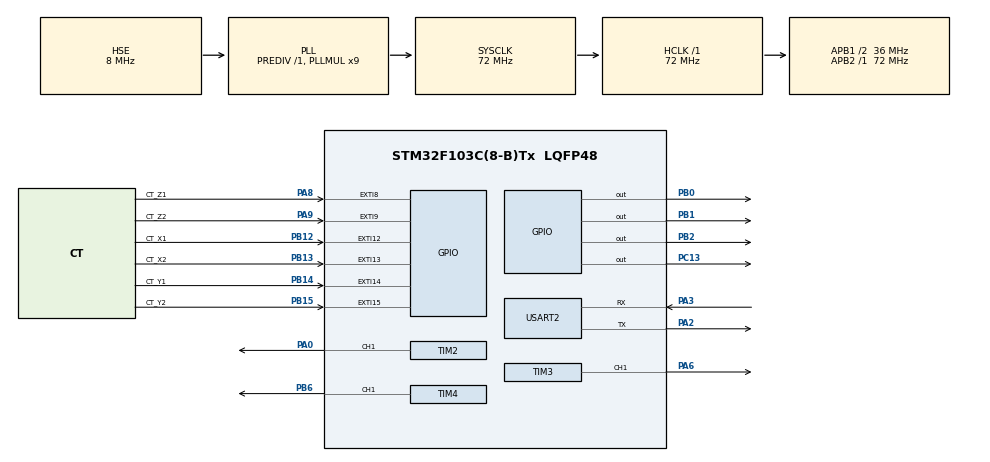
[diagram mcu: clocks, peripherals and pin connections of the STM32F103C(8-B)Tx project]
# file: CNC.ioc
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Mcu.Family=STM32F1
Mcu.Name=STM32F103C(8-B)Tx
Mcu.Package=LQFP48
NVIC.EXTI15_10_IRQn=true\:0\:0\:false\:false\:true\:true\:true\:true
NVIC.EXTI9_5_IRQn=true\:0\:0\:false\:false\:true\:true\:true\:true
NVIC.PriorityGroup=NVIC_PRIORITYGROUP_4
NVIC.TIM1_UP_IRQn=true\:1\:0\:true\:false\:true\:true\:true\:true
NVIC.TIM2_IRQn=true\:0\:0\:false\:false\:true\:true\:true\:true
NVIC.TIM3_IRQn=true\:0\:0\:false\:false\:true\:true\:true\:true
NVIC.TIM4_IRQn=true\:0\:0\:false\:false\:true\:true\:true\:true
NVIC.USART2_IRQn=true\:0\:0\:false\:false\:true\:true\:true\:true
PA0-WKUP.Signal=S_TIM2_CH1_ETR
PA13.Mode=Serial_Wire
PA13.Signal=SYS_JTMS-SWDIO
PA14.Mode=Serial_Wire
PA14.Signal=SYS_JTCK-SWCLK
PA2.Mode=Asynchronous
PA2.Signal=USART2_TX
PA3.Mode=Asynchronous
PA3.Signal=USART2_RX
PA6.Signal=S_TIM3_CH1
PA8.GPIO_Label=CT_Z1
PA8.GPIO_ModeDefaultEXTI=GPIO_MODE_IT_RISING
PA8.GPIO_PuPd=GPIO_PULLUP
PA8.Signal=GPXTI8
PA9.GPIO_Label=CT_Z2
PA9.GPIO_PuPd=GPIO_PULLUP
PA9.Signal=GPXTI9
PB0.Signal=GPIO_Output
PB1.Signal=GPIO_Output
PB12.GPIO_Label=CT_X1
PB12.GPIO_PuPd=GPIO_PULLUP
PB12.Signal=GPXTI12
PB13.GPIO_Label=CT_X2
PB13.GPIO_PuPd=GPIO_PULLUP
PB13.Signal=GPXTI13
PB14.GPIO_Label=CT_Y1
PB14.GPIO_PuPd=GPIO_PULLUP
PB14.Signal=GPXTI14
PB15.GPIO_Label=CT_Y2
PB15.GPIO_PuPd=GPIO_PULLUP
PB15.Signal=GPXTI15
PB2.Signal=GPIO_Output
PB6.Signal=S_TIM4_CH1
PC13-TAMPER-RTC.Signal=GPIO_Output
PD0-OSC_IN.Mode=HSE-External-Oscillator
PD0-OSC_IN.Signal=RCC_OSC_IN
PD1-OSC_OUT.Mode=HSE-External-Oscillator
PD1-OSC_OUT.Signal=RCC_OSC_OUT
ProjectManager.HeapSize=0x200
ProjectManager.StackSize=0x400
ProjectManager.TargetToolchain=STM32CubeIDE
RCC.AHBFreq_Value=72000000
RCC.APB1CLKDivider=RCC_HCLK_DIV2
RCC.APB1Freq_Value=36000000
RCC.APB1TimFreq_Value=72000000
RCC.APB2Freq_Value=72000000
RCC.APB2TimFreq_Value=72000000
RCC.HCLKFreq_Value=72000000
RCC.PLLMUL=RCC_PLL_MUL9
RCC.PLLSourceVirtual=RCC_PLLSOURCE_HSE
RCC.SYSCLKFreq_VALUE=72000000
RCC.SYSCLKSource=RCC_SYSCLKSOURCE_PLLCLK
RCC.USBFreq_Value=72000000
SH.S_TIM2_CH1_ETR.0=TIM2_CH1,PWM Generation1 CH1
SH.S_TIM3_CH1.0=TIM3_CH1,PWM Generation1 CH1
SH.S_TIM4_CH1.0=TIM4_CH1,PWM Generation1 CH1
TIM1.AutoReloadPreload=TIM_AUTORELOAD_PRELOAD_DISABLE
TIM1.Period=999
TIM1.Prescaler=71
TIM2.AutoReloadPreload=TIM_AUTORELOAD_PRELOAD_ENABLE
TIM2.Channel-PWM\ Generation1\ CH1=TIM_CHANNEL_1
TIM2.Period=999
TIM2.Prescaler=71
TIM3.AutoReloadPreload=TIM_AUTORELOAD_PRELOAD_ENABLE
TIM3.Channel-PWM\ Generation1\ CH1=TIM_CHANNEL_1
TIM3.Period=999
TIM3.Prescaler=71
TIM4.AutoReloadPreload=TIM_AUTORELOAD_PRELOAD_ENABLE
TIM4.Channel-PWM\ Generation1\ CH1=TIM_CHANNEL_1
TIM4.Prescaler=71
USART2.VirtualMode=VM_ASYNC
VP_TIM1_VS_ClockSourceINT.Mode=Internal
VP_TIM2_VS_ClockSourceINT.Mode=Internal
VP_TIM3_VS_ClockSourceINT.Mode=Internal
VP_TIM4_VS_ClockSourceINT.Mode=Internal
board=custom

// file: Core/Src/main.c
/* USER CODE BEGIN Header */
/**
  ******************************************************************************
  * @file           : main.c
  * @brief          : Main program body
  ******************************************************************************
  * @attention
  *
  * Copyright (c) 2026 STMicroelectronics.
  * All rights reserved.
  *
  * This software is licensed under terms that can be found in the LICENSE file
  * in the root directory of this software component.
  * If no LICENSE file comes with this software, it is provided AS-IS.
  *
  ******************************************************************************
  */
/* USER CODE END Header */
#include "main.h"
#include "tim.h"
#include "usart.h"
#include "gpio.h"

/* USER CODE BEGIN Includes */
#include "control_axes.h"
#include "control_motor.h"
#include "sensor.h"
#include "cmd_line.h"
/* USER CODE END Includes */

/* USER CODE BEGIN PD */

#define TIM1_CONTROL_FREQ 100.0f
#define TIM1_DT (1.0f / TIM1_CONTROL_FREQ)

/* USER CODE END PD */

void SystemClock_Config(void);

/* USER CODE BEGIN 0 */

#define ABS_FLOAT(x) (((x) < 0.0f) ? (-(x)) : (x))

#define True 	1
#define False 	0

#define MM_PER_STEP 0.0025f

void HAL_GPIO_EXTI_Callback(uint16_t GPIO_Pin){
	uint32_t now = HAL_GetTick();

	if(GPIO_Pin == CT_X1_Pin){
		if(now - sensors[CT_X1].last_time < DEBOUNCE_TIME) return;
		if(ReadSensor(sensors[CT_X1]) == GPIO_PIN_SET){
			sensors[CT_X1].last_time = now;

			if (axes[X_AXIS].mode == AXIS_HOMING){

				StopAxis(X_AXIS);

				axes[X_AXIS].currentSteps = 0;
			}
		}
	}

	if(GPIO_Pin == CT_X2_Pin){
		if(now - sensors[CT_X2].last_time < DEBOUNCE_TIME) return;
		if(ReadSensor(sensors[CT_X2]) == GPIO_PIN_SET){
			sensors[CT_X2].last_time = now;
			StopAxis(X_AXIS);

			if(axes[X_AXIS].mode == AXIS_CALIBRATING){

			}
		}
	}

	if(GPIO_Pin == CT_Y1_Pin){
		if(now - sensors[CT_Y1].last_time < DEBOUNCE_TIME) return;
		if(ReadSensor(sensors[CT_Y1]) == GPIO_PIN_SET){
			sensors[CT_Y1].last_time = now;
			if(axes[Y_AXIS].mode == AXIS_HOMING){

				StopAxis(Y_AXIS);
				axes[Y_AXIS].currentSteps = 0;
			}
		}
	}

	if(GPIO_Pin == CT_Y2_Pin){
		if(now - sensors[CT_Y2].last_time < DEBOUNCE_TIME) return;
		if(ReadSensor(sensors[CT_Y2]) == GPIO_PIN_SET)
		{
			sensors[CT_Y2].last_time = now;
			StopAxis(Y_AXIS);
			if(axes[Y_AXIS].mode == AXIS_CALIBRATING){

			}
		}
	}

	if(GPIO_Pin == CT_Z1_Pin){
		if(now - sensors[CT_Z1].last_time < DEBOUNCE_TIME) return;
		sensors[CT_Z1].last_time = now;
		if(ReadSensor(sensors[CT_Z1]) == GPIO_PIN_SET){
			StopAxis(Z_AXIS);
			if(axes[Z_AXIS].mode == AXIS_HOMING){

				axes[Z_AXIS].currentSteps = 0;
			}
		}

	}
	if(GPIO_Pin == CT_Z2_Pin){
		if(now - sensors[CT_Z2].last_time < DEBOUNCE_TIME) return;
		sensors[CT_Z2].last_time = now;
		if(ReadSensor(sensors[CT_Z2]) == GPIO_PIN_SET){
			StopAxis(Z_AXIS);

			if(axes[Z_AXIS].mode == AXIS_CALIBRATING){

			}
		}

	}
}

void HAL_TIM_PeriodElapsedCallback(TIM_HandleTypeDef *htim){
	if(htim -> Instance == TIM1){
		for(uint8_t i = X_AXIS ; i < AXES_NUM; i++){
			if(axes[i].mode == AXIS_CALIBRATING){
				float nextSpeed = axes[i].speed.currentSpeed + axes[i].speed.acceleration * TIM1_DT;
				if( nextSpeed < MAX_SPEED ){
					axes[i].speed.currentSpeed += axes[i].speed.acceleration * TIM1_DT;
				}
				else{
					axes[i].speed.currentSpeed = MAX_SPEED;
				}

				SetSpeedAxis(i);
			}
		}
	}

	if(htim -> Instance == TIM2){
		if(axes[X_AXIS].mode == AXIS_CALIBRATING){
			axes[X_AXIS].limit += MM_PER_STEP;
		}

	}

	if(htim -> Instance == TIM3){
		if(axes[Y_AXIS].mode == AXIS_CALIBRATING){
			axes[Y_AXIS].limit += MM_PER_STEP;
		}
	}

	if(htim -> Instance == TIM4){
		if(axes[Z_AXIS].mode == AXIS_CALIBRATING){
			axes[Z_AXIS].limit += MM_PER_STEP;
		}
	}

}

void HAL_UART_RxCpltCallback(UART_HandleTypeDef *huart){
	if(huart -> Instance == USART2){
		HAL_UART_Receive_IT(&huart2, &character, 1);
		if(character == '\n'){

		}
		else{

		}

	}
}

/* USER CODE END 0 */

int main(void)
{

  /* MCU Configuration--------------------------------------------------------*/

  /* Reset of all peripherals, Initializes the Flash interface and the Systick. */
  HAL_Init();

  /* Configure the system clock */
  SystemClock_Config();

  /* Initialize all configured peripherals */
  MX_GPIO_Init();
  MX_TIM2_Init();
  MX_TIM3_Init();
  MX_TIM4_Init();
  MX_USART2_UART_Init();
  MX_TIM1_Init();
  /* USER CODE BEGIN 2 */

  InitSensors();

  initAxes();

  LED_OFF();
  HAL_Delay(3000);
  HAL_TIM_Base_Start_IT(&htim1);
  LED_ON();

  MoveToOrigin();

  while(isHoming());
  LED_OFF();
  Calibration();

  while(isCalibrating());

  /* USER CODE END 2 */

  /* Infinite loop */
  while (1)
  {

  }
}

void SystemClock_Config(void)
{
  RCC_OscInitTypeDef RCC_OscInitStruct = {0};
  RCC_ClkInitTypeDef RCC_ClkInitStruct = {0};

  /** Initializes the RCC Oscillators according to the specified parameters
  * in the RCC_OscInitTypeDef structure.
  */
  RCC_OscInitStruct.OscillatorType = RCC_OSCILLATORTYPE_HSE;
  RCC_OscInitStruct.HSEState = RCC_HSE_ON;
  RCC_OscInitStruct.HSEPredivValue = RCC_HSE_PREDIV_DIV1;
  RCC_OscInitStruct.HSIState = RCC_HSI_ON;
  RCC_OscInitStruct.PLL.PLLState = RCC_PLL_ON;
  RCC_OscInitStruct.PLL.PLLSource = RCC_PLLSOURCE_HSE;
  RCC_OscInitStruct.PLL.PLLMUL = RCC_PLL_MUL9;
  if (HAL_RCC_OscConfig(&RCC_OscInitStruct) != HAL_OK)
  {
    Error_Handler();
  }

  /** Initializes the CPU, AHB and APB buses clocks
  */
  RCC_ClkInitStruct.ClockType = RCC_CLOCKTYPE_HCLK|RCC_CLOCKTYPE_SYSCLK
                              |RCC_CLOCKTYPE_PCLK1|RCC_CLOCKTYPE_PCLK2;
  RCC_ClkInitStruct.SYSCLKSource = RCC_SYSCLKSOURCE_PLLCLK;
  RCC_ClkInitStruct.AHBCLKDivider = RCC_SYSCLK_DIV1;
  RCC_ClkInitStruct.APB1CLKDivider = RCC_HCLK_DIV2;
  RCC_ClkInitStruct.APB2CLKDivider = RCC_HCLK_DIV1;

  if (HAL_RCC_ClockConfig(&RCC_ClkInitStruct, FLASH_LATENCY_2) != HAL_OK)
  {
    Error_Handler();
  }
}

void Error_Handler(void)
{
  __disable_irq();
  while (1)
  {
  }
}
